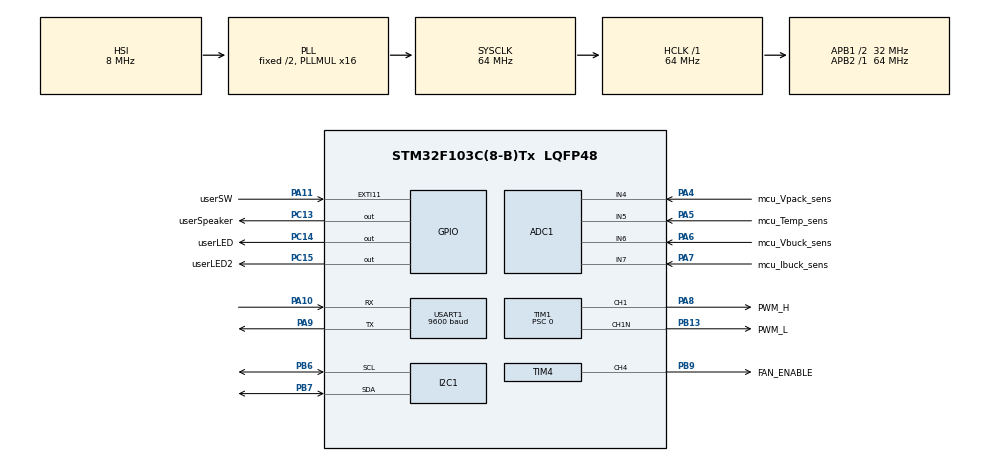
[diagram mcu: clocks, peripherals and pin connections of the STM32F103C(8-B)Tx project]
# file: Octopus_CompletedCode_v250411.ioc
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ADC1.Channel-0\#ChannelRegularConversion=ADC_CHANNEL_4
ADC1.Channel-5\#ChannelRegularConversion=ADC_CHANNEL_5
ADC1.Channel-6\#ChannelRegularConversion=ADC_CHANNEL_6
ADC1.Channel-7\#ChannelRegularConversion=ADC_CHANNEL_7
ADC1.DataAlign=ADC_DATAALIGN_RIGHT
ADC1.NbrOfConversion=4
ADC1.NbrOfConversionFlag=1
ADC1.Rank-0\#ChannelRegularConversion=1
ADC1.Rank-5\#ChannelRegularConversion=2
ADC1.Rank-6\#ChannelRegularConversion=3
ADC1.Rank-7\#ChannelRegularConversion=4
ADC1.SamplingTime-0\#ChannelRegularConversion=ADC_SAMPLETIME_1CYCLE_5
ADC1.SamplingTime-5\#ChannelRegularConversion=ADC_SAMPLETIME_1CYCLE_5
ADC1.SamplingTime-6\#ChannelRegularConversion=ADC_SAMPLETIME_1CYCLE_5
ADC1.SamplingTime-7\#ChannelRegularConversion=ADC_SAMPLETIME_1CYCLE_5
ADC1.master=1
Dma.ADC1.0.Direction=DMA_PERIPH_TO_MEMORY
Dma.ADC1.0.Instance=DMA1_Channel1
Dma.ADC1.0.MemDataAlignment=DMA_MDATAALIGN_HALFWORD
Dma.ADC1.0.MemInc=DMA_MINC_ENABLE
Dma.ADC1.0.Mode=DMA_CIRCULAR
Dma.ADC1.0.PeriphDataAlignment=DMA_PDATAALIGN_HALFWORD
Dma.ADC1.0.PeriphInc=DMA_PINC_DISABLE
Dma.ADC1.0.Priority=DMA_PRIORITY_LOW
Dma.Request0=ADC1
Dma.Request1=USART1_TX
Dma.Request2=USART1_RX
Dma.USART1_RX.2.Direction=DMA_PERIPH_TO_MEMORY
Dma.USART1_RX.2.Instance=DMA1_Channel5
Dma.USART1_RX.2.MemDataAlignment=DMA_MDATAALIGN_BYTE
Dma.USART1_RX.2.MemInc=DMA_MINC_ENABLE
Dma.USART1_RX.2.Mode=DMA_CIRCULAR
Dma.USART1_RX.2.PeriphDataAlignment=DMA_PDATAALIGN_BYTE
Dma.USART1_RX.2.PeriphInc=DMA_PINC_DISABLE
Dma.USART1_RX.2.Priority=DMA_PRIORITY_LOW
Dma.USART1_TX.1.Direction=DMA_MEMORY_TO_PERIPH
Dma.USART1_TX.1.Instance=DMA1_Channel4
Dma.USART1_TX.1.MemDataAlignment=DMA_MDATAALIGN_BYTE
Dma.USART1_TX.1.MemInc=DMA_MINC_ENABLE
Dma.USART1_TX.1.Mode=DMA_CIRCULAR
Dma.USART1_TX.1.PeriphDataAlignment=DMA_PDATAALIGN_BYTE
Dma.USART1_TX.1.PeriphInc=DMA_PINC_DISABLE
Dma.USART1_TX.1.Priority=DMA_PRIORITY_LOW
Mcu.Family=STM32F1
Mcu.Name=STM32F103C(8-B)Tx
Mcu.Package=LQFP48
NVIC.DMA1_Channel1_IRQn=true\:0\:0\:false\:false\:true\:false\:true\:true
NVIC.DMA1_Channel4_IRQn=true\:0\:0\:false\:false\:true\:false\:true\:true
NVIC.DMA1_Channel5_IRQn=true\:0\:0\:false\:false\:true\:false\:true\:true
NVIC.EXTI15_10_IRQn=true\:0\:0\:false\:false\:true\:true\:true\:true
NVIC.PriorityGroup=NVIC_PRIORITYGROUP_4
NVIC.TIM3_IRQn=true\:0\:0\:false\:false\:true\:true\:true\:true
PA10.Mode=Asynchronous
PA10.Signal=USART1_RX
PA11.GPIO_Label=userSW
PA11.GPIO_ModeDefaultEXTI=GPIO_MODE_IT_RISING
PA11.GPIO_PuPd=GPIO_PULLUP
PA11.Signal=GPXTI11
PA13.Mode=Serial_Wire
PA13.Signal=SYS_JTMS-SWDIO
PA14.Mode=Serial_Wire
PA14.Signal=SYS_JTCK-SWCLK
PA4.GPIO_Label=mcu_Vpack_sens
PA4.Signal=ADCx_IN4
PA5.GPIO_Label=mcu_Temp_sens
PA5.Signal=ADCx_IN5
PA6.GPIO_Label=mcu_Vbuck_sens
PA6.Signal=ADCx_IN6
PA7.GPIO_Label=mcu_Ibuck_sens
PA7.Signal=ADCx_IN7
PA8.GPIO_Label=PWM_H
PA8.Signal=S_TIM1_CH1
PA9.Mode=Asynchronous
PA9.Signal=USART1_TX
PB13.GPIO_Label=PWM_L
PB13.Mode=PWM Generation1 CH1 CH1N
PB13.Signal=TIM1_CH1N
PB6.Mode=I2C
PB6.Signal=I2C1_SCL
PB7.Mode=I2C
PB7.Signal=I2C1_SDA
PB9.GPIO_Label=FAN_ENABLE
PB9.Signal=S_TIM4_CH4
PC13-TAMPER-RTC.GPIO_Label=userSpeaker
PC13-TAMPER-RTC.Signal=GPIO_Output
PC14-OSC32_IN.GPIO_Label=userLED
PC14-OSC32_IN.Signal=GPIO_Output
PC15-OSC32_OUT.GPIO_Label=userLED2
PC15-OSC32_OUT.Signal=GPIO_Output
ProjectManager.HeapSize=0x200
ProjectManager.StackSize=0x400
ProjectManager.TargetToolchain=STM32CubeIDE
RCC.ADCPresc=RCC_ADCPCLK2_DIV8
RCC.AHBFreq_Value=64000000
RCC.APB1CLKDivider=RCC_HCLK_DIV2
RCC.APB1Freq_Value=32000000
RCC.APB1TimFreq_Value=64000000
RCC.APB2Freq_Value=64000000
RCC.APB2TimFreq_Value=64000000
RCC.HCLKFreq_Value=64000000
RCC.PLLMUL=RCC_PLL_MUL16
RCC.SYSCLKFreq_VALUE=64000000
RCC.SYSCLKSource=RCC_SYSCLKSOURCE_PLLCLK
RCC.USBFreq_Value=64000000
SH.ADCx_IN4.0=ADC1_IN4,IN4
SH.ADCx_IN5.0=ADC1_IN5,IN5
SH.ADCx_IN6.0=ADC1_IN6,IN6
SH.ADCx_IN7.0=ADC1_IN7,IN7
SH.S_TIM1_CH1.0=TIM1_CH1,PWM Generation1 CH1 CH1N
SH.S_TIM4_CH4.0=TIM4_CH4,PWM Generation4 CH4
TIM1.AutoReloadPreload=TIM_AUTORELOAD_PRELOAD_ENABLE
TIM1.Channel-PWM\ Generation1\ CH1\ CH1N=TIM_CHANNEL_1
TIM1.DeadTime=19
TIM1.OCIdleState_1=TIM_OCIDLESTATE_RESET
TIM1.OCNIdleState_1=TIM_OCNIDLESTATE_RESET
TIM1.Period=320
TIM1.Prescaler=0
TIM1.Pulse-PWM\ Generation1\ CH1\ CH1N=160
TIM2.AutoReloadPreload=TIM_AUTORELOAD_PRELOAD_ENABLE
TIM2.Period=65535
TIM3.AutoReloadPreload=TIM_AUTORELOAD_PRELOAD_ENABLE
TIM3.Period=6399
TIM4.AutoReloadPreload=TIM_AUTORELOAD_PRELOAD_ENABLE
TIM4.Channel-PWM\ Generation4\ CH4=TIM_CHANNEL_4
TIM4.OCPolarity_4=TIM_OCPOLARITY_LOW
TIM4.Period=1599
TIM4.Pulse-PWM\ Generation4\ CH4=3200
USART1.BaudRate=9600
USART1.VirtualMode=VM_ASYNC
VP_TIM1_VS_ClockSourceINT.Mode=Internal
VP_TIM2_VS_ClockSourceINT.Mode=Internal
VP_TIM3_VS_ClockSourceINT.Mode=Internal
VP_TIM4_VS_ClockSourceINT.Mode=Internal
board=custom

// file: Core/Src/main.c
/* USER CODE BEGIN Header */
/**
  ******************************************************************************
  * @file           : main.c
  * @brief          : Main program body
  ******************************************************************************
  * @attention
  *
  * Copyright (c) 2025 STMicroelectronics.
  * All rights reserved.
  *
  * This software is licensed under terms that can be found in the LICENSE file
  * in the root directory of this software component.
  * If no LICENSE file comes with this software, it is provided AS-IS.
  *
  ******************************************************************************
  */
/* USER CODE END Header */
#include "main.h"

/* USER CODE BEGIN Includes */
#include "_BMS.h"
#include "stdio.h"
/* USER CODE END Includes */

ADC_HandleTypeDef hadc1;
DMA_HandleTypeDef hdma_adc1;

I2C_HandleTypeDef hi2c1;

TIM_HandleTypeDef htim1;
TIM_HandleTypeDef htim2;
TIM_HandleTypeDef htim3;
TIM_HandleTypeDef htim4;

UART_HandleTypeDef huart1;
DMA_HandleTypeDef hdma_usart1_tx;
DMA_HandleTypeDef hdma_usart1_rx;

/* USER CODE BEGIN PV */
uint32_t ISR_Count = 0;
uint16_t EXT_Count = 0;
uint32_t ISR_Duty = 0;
/* USER CODE END PV */

void SystemClock_Config(void);
static void MX_GPIO_Init(void);
static void MX_DMA_Init(void);
static void MX_I2C1_Init(void);
static void MX_USART1_UART_Init(void);
static void MX_TIM2_Init(void);
static void MX_ADC1_Init(void);
static void MX_TIM1_Init(void);
static void MX_TIM3_Init(void);
static void MX_TIM4_Init(void);
/* USER CODE BEGIN PFP */
uint16_t g_starttime = 0;
uint16_t g_endtime	 = 0;
uint16_t g_elapsetime= 0;

/* USER CODE END PFP */

/* USER CODE BEGIN 0 */
void ISR_TIM3() {// every 100us
	_main_interrupt_service();
	ISR_Count++;
	return;
}

void EX_ISR_GPIO(void) {
	//_ext_interrupt_service(uint16_t);
}

void HAL_GPIO_EXTI_Callback(uint16_t GPIO_Pin){
	_ext_interrupt_service(GPIO_Pin);
	EXT_Count++;
}
/* USER CODE END 0 */

int main(void)
{

  /* MCU Configuration--------------------------------------------------------*/

  /* Reset of all peripherals, Initializes the Flash interface and the Systick. */
  HAL_Init();

  /* Configure the system clock */
  SystemClock_Config();

  /* Initialize all configured peripherals */
  MX_GPIO_Init();
  MX_DMA_Init();
  MX_I2C1_Init();
  MX_USART1_UART_Init();
  MX_TIM2_Init();
  MX_ADC1_Init();
  MX_TIM1_Init();
  MX_TIM3_Init();
  MX_TIM4_Init();
  /* USER CODE BEGIN 2 */
  _system_initialization();
  /* USER CODE END 2 */

  /* Infinite loop */
  /* USER CODE BEGIN WHILE */
  while (1)
  {
	  _main_inf_loop();
	  handle_uart_command();
    /* USER CODE END WHILE */

  }
}

void SystemClock_Config(void)
{
  RCC_OscInitTypeDef RCC_OscInitStruct = {0};
  RCC_ClkInitTypeDef RCC_ClkInitStruct = {0};
  RCC_PeriphCLKInitTypeDef PeriphClkInit = {0};

  /** Initializes the RCC Oscillators according to the specified parameters
  * in the RCC_OscInitTypeDef structure.
  */
  RCC_OscInitStruct.OscillatorType = RCC_OSCILLATORTYPE_HSI;
  RCC_OscInitStruct.HSIState = RCC_HSI_ON;
  RCC_OscInitStruct.HSICalibrationValue = RCC_HSICALIBRATION_DEFAULT;
  RCC_OscInitStruct.PLL.PLLState = RCC_PLL_ON;
  RCC_OscInitStruct.PLL.PLLSource = RCC_PLLSOURCE_HSI_DIV2;
  RCC_OscInitStruct.PLL.PLLMUL = RCC_PLL_MUL16;
  if (HAL_RCC_OscConfig(&RCC_OscInitStruct) != HAL_OK)
  {
    Error_Handler();
  }

  /** Initializes the CPU, AHB and APB buses clocks
  */
  RCC_ClkInitStruct.ClockType = RCC_CLOCKTYPE_HCLK|RCC_CLOCKTYPE_SYSCLK
                              |RCC_CLOCKTYPE_PCLK1|RCC_CLOCKTYPE_PCLK2;
  RCC_ClkInitStruct.SYSCLKSource = RCC_SYSCLKSOURCE_PLLCLK;
  RCC_ClkInitStruct.AHBCLKDivider = RCC_SYSCLK_DIV1;
  RCC_ClkInitStruct.APB1CLKDivider = RCC_HCLK_DIV2;
  RCC_ClkInitStruct.APB2CLKDivider = RCC_HCLK_DIV1;

  if (HAL_RCC_ClockConfig(&RCC_ClkInitStruct, FLASH_LATENCY_2) != HAL_OK)
  {
    Error_Handler();
  }
  PeriphClkInit.PeriphClockSelection = RCC_PERIPHCLK_ADC;
  PeriphClkInit.AdcClockSelection = RCC_ADCPCLK2_DIV8;
  if (HAL_RCCEx_PeriphCLKConfig(&PeriphClkInit) != HAL_OK)
  {
    Error_Handler();
  }
}

static void MX_ADC1_Init(void)
{

  ADC_ChannelConfTypeDef sConfig = {0};

  /** Common config
  */
  hadc1.Instance = ADC1;
  hadc1.Init.ScanConvMode = ADC_SCAN_ENABLE;
  hadc1.Init.ContinuousConvMode = DISABLE;
  hadc1.Init.DiscontinuousConvMode = DISABLE;
  hadc1.Init.ExternalTrigConv = ADC_SOFTWARE_START;
  hadc1.Init.DataAlign = ADC_DATAALIGN_RIGHT;
  hadc1.Init.NbrOfConversion = 4;
  if (HAL_ADC_Init(&hadc1) != HAL_OK)
  {
    Error_Handler();
  }

  /** Configure Regular Channel
  */
  sConfig.Channel = ADC_CHANNEL_4;
  sConfig.Rank = ADC_REGULAR_RANK_1;
  sConfig.SamplingTime = ADC_SAMPLETIME_1CYCLE_5;
  if (HAL_ADC_ConfigChannel(&hadc1, &sConfig) != HAL_OK)
  {
    Error_Handler();
  }

  /** Configure Regular Channel
  */
  sConfig.Channel = ADC_CHANNEL_5;
  sConfig.Rank = ADC_REGULAR_RANK_2;
  if (HAL_ADC_ConfigChannel(&hadc1, &sConfig) != HAL_OK)
  {
    Error_Handler();
  }

  /** Configure Regular Channel
  */
  sConfig.Channel = ADC_CHANNEL_6;
  sConfig.Rank = ADC_REGULAR_RANK_3;
  if (HAL_ADC_ConfigChannel(&hadc1, &sConfig) != HAL_OK)
  {
    Error_Handler();
  }

  /** Configure Regular Channel
  */
  sConfig.Channel = ADC_CHANNEL_7;
  sConfig.Rank = ADC_REGULAR_RANK_4;
  if (HAL_ADC_ConfigChannel(&hadc1, &sConfig) != HAL_OK)
  {
    Error_Handler();
  }

}

static void MX_I2C1_Init(void)
{

  hi2c1.Instance = I2C1;
  hi2c1.Init.ClockSpeed = 100000;
  hi2c1.Init.DutyCycle = I2C_DUTYCYCLE_2;
  hi2c1.Init.OwnAddress1 = 0;
  hi2c1.Init.AddressingMode = I2C_ADDRESSINGMODE_7BIT;
  hi2c1.Init.DualAddressMode = I2C_DUALADDRESS_DISABLE;
  hi2c1.Init.OwnAddress2 = 0;
  hi2c1.Init.GeneralCallMode = I2C_GENERALCALL_DISABLE;
  hi2c1.Init.NoStretchMode = I2C_NOSTRETCH_DISABLE;
  if (HAL_I2C_Init(&hi2c1) != HAL_OK)
  {
    Error_Handler();
  }

}

static void MX_TIM1_Init(void)
{

  TIM_ClockConfigTypeDef sClockSourceConfig = {0};
  TIM_MasterConfigTypeDef sMasterConfig = {0};
  TIM_OC_InitTypeDef sConfigOC = {0};
  TIM_BreakDeadTimeConfigTypeDef sBreakDeadTimeConfig = {0};

  htim1.Instance = TIM1;
  htim1.Init.Prescaler = 0;
  htim1.Init.CounterMode = TIM_COUNTERMODE_UP;
  htim1.Init.Period = 320;
  htim1.Init.ClockDivision = TIM_CLOCKDIVISION_DIV1;
  htim1.Init.RepetitionCounter = 0;
  htim1.Init.AutoReloadPreload = TIM_AUTORELOAD_PRELOAD_ENABLE;
  if (HAL_TIM_Base_Init(&htim1) != HAL_OK)
  {
    Error_Handler();
  }
  sClockSourceConfig.ClockSource = TIM_CLOCKSOURCE_INTERNAL;
  if (HAL_TIM_ConfigClockSource(&htim1, &sClockSourceConfig) != HAL_OK)
  {
    Error_Handler();
  }
  if (HAL_TIM_PWM_Init(&htim1) != HAL_OK)
  {
    Error_Handler();
  }
  sMasterConfig.MasterOutputTrigger = TIM_TRGO_RESET;
  sMasterConfig.MasterSlaveMode = TIM_MASTERSLAVEMODE_DISABLE;
  if (HAL_TIMEx_MasterConfigSynchronization(&htim1, &sMasterConfig) != HAL_OK)
  {
    Error_Handler();
  }
  sConfigOC.OCMode = TIM_OCMODE_PWM1;
  sConfigOC.Pulse = 160;
  sConfigOC.OCPolarity = TIM_OCPOLARITY_HIGH;
  sConfigOC.OCNPolarity = TIM_OCNPOLARITY_HIGH;
  sConfigOC.OCFastMode = TIM_OCFAST_DISABLE;
  sConfigOC.OCIdleState = TIM_OCIDLESTATE_RESET;
  sConfigOC.OCNIdleState = TIM_OCNIDLESTATE_RESET;
  if (HAL_TIM_PWM_ConfigChannel(&htim1, &sConfigOC, TIM_CHANNEL_1) != HAL_OK)
  {
    Error_Handler();
  }
  sBreakDeadTimeConfig.OffStateRunMode = TIM_OSSR_DISABLE;
  sBreakDeadTimeConfig.OffStateIDLEMode = TIM_OSSI_DISABLE;
  sBreakDeadTimeConfig.LockLevel = TIM_LOCKLEVEL_OFF;
  sBreakDeadTimeConfig.DeadTime = 19;
  sBreakDeadTimeConfig.BreakState = TIM_BREAK_DISABLE;
  sBreakDeadTimeConfig.BreakPolarity = TIM_BREAKPOLARITY_HIGH;
  sBreakDeadTimeConfig.AutomaticOutput = TIM_AUTOMATICOUTPUT_DISABLE;
  if (HAL_TIMEx_ConfigBreakDeadTime(&htim1, &sBreakDeadTimeConfig) != HAL_OK)
  {
    Error_Handler();
  }
  HAL_TIM_MspPostInit(&htim1);

}

static void MX_TIM2_Init(void)
{

  TIM_ClockConfigTypeDef sClockSourceConfig = {0};
  TIM_MasterConfigTypeDef sMasterConfig = {0};

  htim2.Instance = TIM2;
  htim2.Init.Prescaler = 0;
  htim2.Init.CounterMode = TIM_COUNTERMODE_UP;
  htim2.Init.Period = 65535;
  htim2.Init.ClockDivision = TIM_CLOCKDIVISION_DIV1;
  htim2.Init.AutoReloadPreload = TIM_AUTORELOAD_PRELOAD_ENABLE;
  if (HAL_TIM_Base_Init(&htim2) != HAL_OK)
  {
    Error_Handler();
  }
  sClockSourceConfig.ClockSource = TIM_CLOCKSOURCE_INTERNAL;
  if (HAL_TIM_ConfigClockSource(&htim2, &sClockSourceConfig) != HAL_OK)
  {
    Error_Handler();
  }
  sMasterConfig.MasterOutputTrigger = TIM_TRGO_RESET;
  sMasterConfig.MasterSlaveMode = TIM_MASTERSLAVEMODE_DISABLE;
  if (HAL_TIMEx_MasterConfigSynchronization(&htim2, &sMasterConfig) != HAL_OK)
  {
    Error_Handler();
  }

}

static void MX_TIM3_Init(void)
{

  TIM_ClockConfigTypeDef sClockSourceConfig = {0};
  TIM_MasterConfigTypeDef sMasterConfig = {0};

  htim3.Instance = TIM3;
  htim3.Init.Prescaler = 0;
  htim3.Init.CounterMode = TIM_COUNTERMODE_UP;
  htim3.Init.Period = 6399;
  htim3.Init.ClockDivision = TIM_CLOCKDIVISION_DIV1;
  htim3.Init.AutoReloadPreload = TIM_AUTORELOAD_PRELOAD_ENABLE;
  if (HAL_TIM_Base_Init(&htim3) != HAL_OK)
  {
    Error_Handler();
  }
  sClockSourceConfig.ClockSource = TIM_CLOCKSOURCE_INTERNAL;
  if (HAL_TIM_ConfigClockSource(&htim3, &sClockSourceConfig) != HAL_OK)
  {
    Error_Handler();
  }
  sMasterConfig.MasterOutputTrigger = TIM_TRGO_RESET;
  sMasterConfig.MasterSlaveMode = TIM_MASTERSLAVEMODE_DISABLE;
  if (HAL_TIMEx_MasterConfigSynchronization(&htim3, &sMasterConfig) != HAL_OK)
  {
    Error_Handler();
  }

}

static void MX_TIM4_Init(void)
{

  TIM_ClockConfigTypeDef sClockSourceConfig = {0};
  TIM_MasterConfigTypeDef sMasterConfig = {0};
  TIM_OC_InitTypeDef sConfigOC = {0};

  htim4.Instance = TIM4;
  htim4.Init.Prescaler = 0;
  htim4.Init.CounterMode = TIM_COUNTERMODE_UP;
  htim4.Init.Period = 1599;
  htim4.Init.ClockDivision = TIM_CLOCKDIVISION_DIV1;
  htim4.Init.AutoReloadPreload = TIM_AUTORELOAD_PRELOAD_ENABLE;
  if (HAL_TIM_Base_Init(&htim4) != HAL_OK)
  {
    Error_Handler();
  }
  sClockSourceConfig.ClockSource = TIM_CLOCKSOURCE_INTERNAL;
  if (HAL_TIM_ConfigClockSource(&htim4, &sClockSourceConfig) != HAL_OK)
  {
    Error_Handler();
  }
  if (HAL_TIM_PWM_Init(&htim4) != HAL_OK)
  {
    Error_Handler();
  }
  sMasterConfig.MasterOutputTrigger = TIM_TRGO_RESET;
  sMasterConfig.MasterSlaveMode = TIM_MASTERSLAVEMODE_DISABLE;
  if (HAL_TIMEx_MasterConfigSynchronization(&htim4, &sMasterConfig) != HAL_OK)
  {
    Error_Handler();
  }
  sConfigOC.OCMode = TIM_OCMODE_PWM1;
  sConfigOC.Pulse = 3200;
  sConfigOC.OCPolarity = TIM_OCPOLARITY_LOW;
  sConfigOC.OCFastMode = TIM_OCFAST_DISABLE;
  if (HAL_TIM_PWM_ConfigChannel(&htim4, &sConfigOC, TIM_CHANNEL_4) != HAL_OK)
  {
    Error_Handler();
  }
  HAL_TIM_MspPostInit(&htim4);

}

static void MX_USART1_UART_Init(void)
{

  huart1.Instance = USART1;
  huart1.Init.BaudRate = 9600;
  huart1.Init.WordLength = UART_WORDLENGTH_8B;
  huart1.Init.StopBits = UART_STOPBITS_1;
  huart1.Init.Parity = UART_PARITY_NONE;
  huart1.Init.Mode = UART_MODE_TX_RX;
  huart1.Init.HwFlowCtl = UART_HWCONTROL_NONE;
  huart1.Init.OverSampling = UART_OVERSAMPLING_16;
  if (HAL_UART_Init(&huart1) != HAL_OK)
  {
    Error_Handler();
  }

}

static void MX_DMA_Init(void)
{

  /* DMA controller clock enable */
  __HAL_RCC_DMA1_CLK_ENABLE();

  /* DMA interrupt init */
  /* DMA1_Channel1_IRQn interrupt configuration */
  HAL_NVIC_SetPriority(DMA1_Channel1_IRQn, 0, 0);
  HAL_NVIC_EnableIRQ(DMA1_Channel1_IRQn);
  /* DMA1_Channel4_IRQn interrupt configuration */
  HAL_NVIC_SetPriority(DMA1_Channel4_IRQn, 0, 0);
  HAL_NVIC_EnableIRQ(DMA1_Channel4_IRQn);
  /* DMA1_Channel5_IRQn interrupt configuration */
  HAL_NVIC_SetPriority(DMA1_Channel5_IRQn, 0, 0);
  HAL_NVIC_EnableIRQ(DMA1_Channel5_IRQn);

}

static void MX_GPIO_Init(void)
{
  GPIO_InitTypeDef GPIO_InitStruct = {0};

  /* GPIO Ports Clock Enable */
  __HAL_RCC_GPIOC_CLK_ENABLE();
  __HAL_RCC_GPIOA_CLK_ENABLE();
  __HAL_RCC_GPIOB_CLK_ENABLE();

  /*Configure GPIO pin Output Level */
  HAL_GPIO_WritePin(GPIOC, userSpeaker_Pin|userLED_Pin|userLED2_Pin, GPIO_PIN_RESET);

  /*Configure GPIO pins : userSpeaker_Pin userLED_Pin userLED2_Pin */
  GPIO_InitStruct.Pin = userSpeaker_Pin|userLED_Pin|userLED2_Pin;
  GPIO_InitStruct.Mode = GPIO_MODE_OUTPUT_PP;
  GPIO_InitStruct.Pull = GPIO_NOPULL;
  GPIO_InitStruct.Speed = GPIO_SPEED_FREQ_LOW;
  HAL_GPIO_Init(GPIOC, &GPIO_InitStruct);

  /*Configure GPIO pin : userSW_Pin */
  GPIO_InitStruct.Pin = userSW_Pin;
  GPIO_InitStruct.Mode = GPIO_MODE_IT_RISING;
  GPIO_InitStruct.Pull = GPIO_PULLUP;
  HAL_GPIO_Init(userSW_GPIO_Port, &GPIO_InitStruct);

  /* EXTI interrupt init*/
  HAL_NVIC_SetPriority(EXTI15_10_IRQn, 0, 0);
  HAL_NVIC_EnableIRQ(EXTI15_10_IRQn);

}

void Error_Handler(void)
{
  __disable_irq();
  while (1)
  {
  }
}
